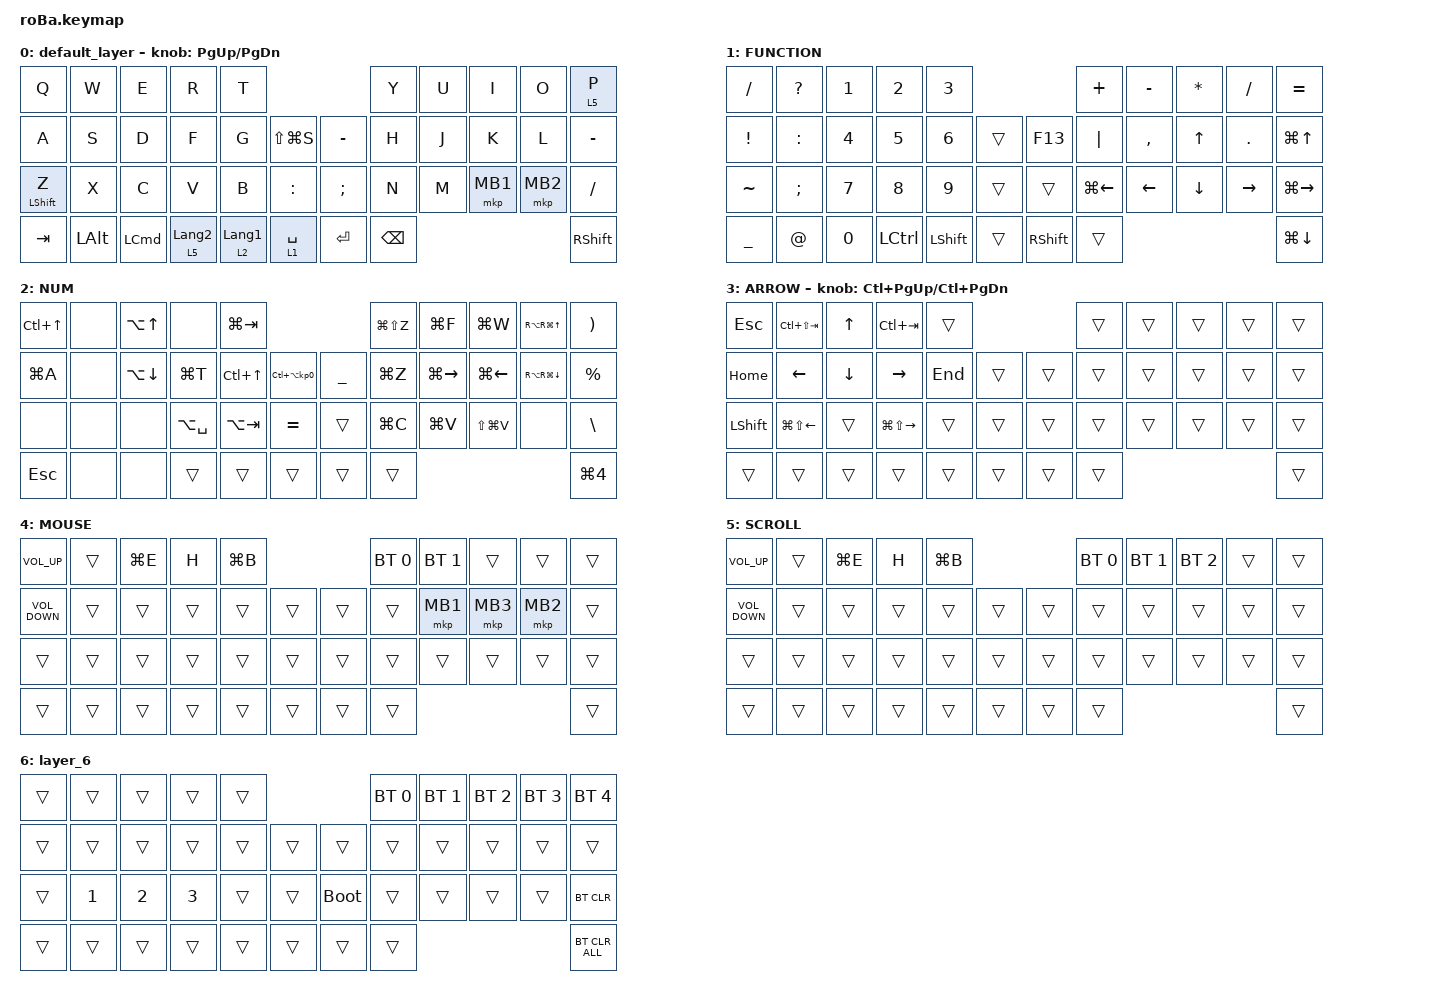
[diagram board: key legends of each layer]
#include <behaviors.dtsi>
#include <dt-bindings/zmk/bt.h>
#include <dt-bindings/zmk/keys.h>
#include <dt-bindings/zmk/pointing.h>

#define MOUSE 4
#define SCROLL 5
#define NUM 6

&mt {
    flavor = "balanced";
    quick-tap-ms = <0>;
};

/ {
    combos {
        compatible = "zmk,combos";

        tab {
            bindings = <&kp TAB>;
            key-positions = <11 12>;
        };

        shift_tab {
            bindings = <&kp LS(TAB)>;
            key-positions = <12 13>;
        };

        muhennkann {
            bindings = <&to_layer_0 INT_MUHENKAN>;
            key-positions = <11 10>;
        };

        double_quotation {
            bindings = <&kp DOUBLE_QUOTES>;
            key-positions = <20 21>;
        };

        eq {
            bindings = <&kp EQUAL>;
            key-positions = <24 25>;
        };
    };

    macros {
        to_layer_0: to_layer_0 {
            compatible = "zmk,behavior-macro-one-param";
            #binding-cells = <1>;
            bindings = <&to 0 &macro_param_1to1 &kp MACRO_PLACEHOLDER>;
            label = "TO_LAYER_0";
        };
    };

    behaviors {
        lt_to_layer_0: lt_to_layer_0 {
            compatible = "zmk,behavior-hold-tap";
            label = "LAYER_TAP_TO_0";
            bindings = <&mo>, <&to_layer_0>;

            #binding-cells = <2>;
            tapping-term-ms = <200>;
        };
    };

    keymap {
        compatible = "zmk,keymap";

        default_layer {
            bindings = <
&kp Q             &kp W         &kp E             &kp R             &kp T                                               &kp Y          &kp U  &kp I     &kp O     &lt 5 P
&kp A             &kp S         &kp D             &kp F             &kp G             &kp LS(LG(S))      &kp MINUS      &kp H          &kp J  &kp K     &kp L     &kp MINUS
&mt LEFT_SHIFT Z  &kp X         &kp C             &kp V             &kp B             &kp COLON          &kp SEMICOLON  &kp N          &kp M  &mkp MB1  &mkp MB2  &kp SLASH
&kp TAB           &kp LEFT_ALT  &kp LEFT_COMMAND  &lt 5 LANGUAGE_2  &lt 2 LANGUAGE_1  &lt 1 SPACE        &kp ENTER      &kp BACKSPACE                             &kp RIGHT_SHIFT
            >;

            sensor-bindings = <&inc_dec_kp PG_UP PAGE_DOWN>;
        };

        FUNCTION {
            bindings = <
&kp SLASH        &kp QUESTION   &kp NUMBER_1  &kp NUMBER_2      &kp NUMBER_3                                 &kp PLUS      &kp MINUS  &kp ASTERISK    &kp SLASH   &kp EQUAL
&kp EXCLAMATION  &kp COLON      &kp NUMBER_4  &kp N5            &kp NUMBER_6    &trans      &kp F13          &kp PIPE      &kp COMMA  &kp UP_ARROW    &kp PERIOD  &kp LG(UP_ARROW)
&kp TILDE        &kp SEMICOLON  &kp N7        &kp N8            &kp N9          &trans      &trans           &kp LG(LEFT)  &kp LEFT   &kp DOWN_ARROW  &kp RIGHT   &kp LG(RIGHT)
&kp UNDERSCORE   &kp AT_SIGN    &kp N0        &kp LEFT_CONTROL  &kp LEFT_SHIFT  &trans      &kp RIGHT_SHIFT  &trans                                               &kp LG(DOWN_ARROW)
            >;
        };

        NUM {
            bindings = <
&kp LC(UP_ARROW)  &none  &kp LA(UP_ARROW)  &none          &kp LG(TAB)                                                    &kp LG(LS(Z))  &kp LG(F)      &kp LG(W)      &kp RA(RG(UP_ARROW))    &kp RIGHT_PARENTHESIS
&kp LG(A)         &none  &kp LA(DOWN)      &kp LG(T)      &kp LC(UP_ARROW)  &kp LC(LA(KP_NUMBER_0))      &kp UNDERSCORE  &kp LG(Z)      &kp LG(RIGHT)  &kp LG(LEFT)   &kp RA(RG(DOWN_ARROW))  &kp PERCENT
&none             &none  &none             &kp LA(SPACE)  &kp LA(TAB)       &kp EQUAL                    &trans          &kp LG(C)      &kp LG(V)      &kp LS(LG(V))  &none                   &kp BACKSLASH
&kp ESC           &none  &none             &trans         &trans            &trans                       &trans          &trans                                                               &kp LG(NUMBER_4)
            >;
        };

        ARROW {
            bindings = <
&kp ESCAPE      &kp LC(LS(TAB))         &kp UP_ARROW    &kp LC(TAB)              &trans                       &trans  &trans  &trans  &trans  &trans
&kp HOME        &kp LEFT_ARROW          &kp DOWN_ARROW  &kp RIGHT_ARROW          &kp END  &trans      &trans  &trans  &trans  &trans  &trans  &trans
&kp LEFT_SHIFT  &kp LG(LS(LEFT_ARROW))  &trans          &kp LG(LS(RIGHT_ARROW))  &trans   &trans      &trans  &trans  &trans  &trans  &trans  &trans
&trans          &trans                  &trans          &trans                   &trans   &trans      &trans  &trans                          &trans
            >;

            sensor-bindings = <&inc_dec_kp LC(PAGE_UP) LC(PAGE_DOWN)>;
        };

        MOUSE {
            bindings = <
&kp C_VOLUME_UP    &trans  &kp LG(E)  &kp H   &kp LG(B)                      &bt BT_SEL 0  &bt BT_SEL 1  &trans    &trans    &trans
&kp C_VOLUME_DOWN  &trans  &trans     &trans  &trans     &trans      &trans  &trans        &mkp MB1      &mkp MB3  &mkp MB2  &trans
&trans             &trans  &trans     &trans  &trans     &trans      &trans  &trans        &trans        &trans    &trans    &trans
&trans             &trans  &trans     &trans  &trans     &trans      &trans  &trans                                          &trans
            >;
        };

        SCROLL {
            bindings = <
&kp C_VOLUME_UP    &trans  &kp LG(E)  &kp H   &kp LG(B)                      &bt BT_SEL 0  &bt BT_SEL 1  &bt BT_SEL 2  &trans  &trans
&kp C_VOLUME_DOWN  &trans  &trans     &trans  &trans     &trans      &trans  &trans        &trans        &trans        &trans  &trans
&trans             &trans  &trans     &trans  &trans     &trans      &trans  &trans        &trans        &trans        &trans  &trans
&trans             &trans  &trans     &trans  &trans     &trans      &trans  &trans                                            &trans
            >;
        };

        layer_6 {
            bindings = <
&trans  &trans        &trans        &trans        &trans                           &bt BT_SEL 0  &bt BT_SEL 1  &bt BT_SEL 2  &bt BT_SEL 3  &bt BT_SEL 4
&trans  &trans        &trans        &trans        &trans  &trans      &trans       &trans        &trans        &trans        &trans        &trans
&trans  &kp NUMBER_1  &kp NUMBER_2  &kp NUMBER_3  &trans  &trans      &bootloader  &trans        &trans        &trans        &trans        &bt BT_CLR
&trans  &trans        &trans        &trans        &trans  &trans      &trans       &trans                                                  &bt BT_CLR_ALL
            >;
        };
    };
};
